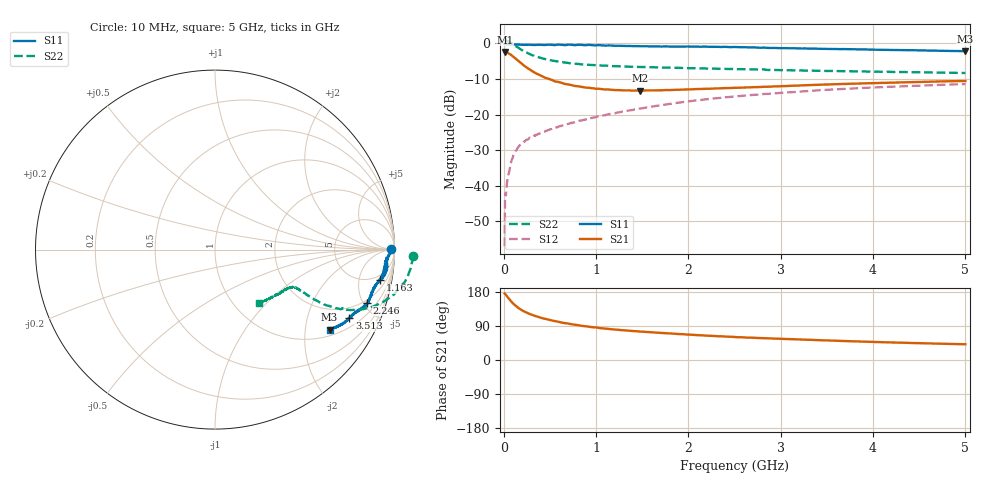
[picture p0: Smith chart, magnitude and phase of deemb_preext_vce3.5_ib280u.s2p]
! Forward-simulated: Re-embedded (raw/measured) — deemb_preext_vce3.5_ib280u.s2p
!  source_deembedded_file = deemb_preext_vce3.5_ib280u.s2p
!  Cpbe_fF = 22.0
!  Cpce_fF = 18.0
!  Cpbc_fF = 5.0
!  Lb_pH = 45.0
!  Lc_pH = 42.0
!  Le_pH = 6.0
!  Rpb_ohm = 0.0
!  Rpc_ohm = 0.0
!  Rpe_ohm = 0.0
# Hz S DB R 50
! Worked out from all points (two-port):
!   1001 points, 10 MHz to 5 GHz, reference 50 ohm
!   highest |S21| = -2.35 dB at 14.99 MHz (marker M1); lowest = -13.3 dB at 1.477 GHz (marker M2)
!   |S21| within 3 dB of the highest: start of sweep to 180.7 MHz
!   lowest |S11| = -2.2 dB at 5 GHz (marker M3), VSWR 8.06, Z = 59.4 - j135 ohm
!   |S11| at or under -10 dB: nowhere
!   |S22| runs from -8.3 to 0.9 dB; largest |S21 - S12| = 0.77
!   S11 on the Smith chart (normalised r, x): 10 MHz: open; 1.163 GHz: 4, -10; 2.246 GHz: 1.76, -5.36; 3.513 GHz: 1.43, -3.66; 5 GHz: 1.19, -2.70
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1e7  -0.15 0.2  -2.36 175.7  -57.08 5.6  0.84 -1.8
1.499e7  -0.19 -0.4  -2.35 174.5  -42.79 51.6  0.86 -2.9
3.994e7  -0.19 -0.7  -2.62 166.8  -38.57 67.9  0.70 -8.0
5.99e7  -0.20 -1.0  -2.87 160.5  -36.19 64.2  0.45 -11.6
7.986e7  -0.24 -1.5  -3.21 154.9  -33.45 63.7  0.16 -14.7
9.982e7  -0.28 -1.8  -3.60 149.8  -32.01 62.6  -0.18 -17.4
1.2976e8  -0.30 -2.2  -4.24 143.0  -30.32 57.9  -0.70 -20.4
1.597e8  -0.30 -2.3  -4.92 137.5  -29.11 56.1  -1.21 -22.6
2.096e8  -0.34 -2.8  -5.99 129.4  -27.87 52.9  -2.06 -24.9
2.6948e8  -0.33 -3.2  -7.12 122.8  -26.89 51.7  -2.81 -26.1
4.092e8  -0.38 -4.6  -9.13 110.8  -25.13 50.3  -4.13 -26.7
5.589e8  -0.43 -5.3  -10.67 102.3  -23.84 51.6  -4.96 -26.0
8.4333e8  -0.40 -8.3  -12.22 90.3  -21.65 53.4  -5.87 -25.3
1.16269e9  -0.58 -10.5  -13.02 81.3  -19.80 54.2  -6.36 -25.7
1.47706e9  -0.77 -12.7  -13.27 75.1  -18.32 54.5  -6.61 -27.0
1.67666e9  -0.83 -14.3  -13.19 71.8  -17.50 54.2  -6.74 -27.9
2.24552e9  -0.94 -19.2  -12.71 63.9  -15.58 51.8  -7.06 -31.8
2.505e9  -0.99 -21.0  -12.46 60.7  -14.90 50.1  -7.20 -33.4
3.33833e9  -1.45 -25.9  -11.69 53.0  -13.30 46.0  -7.66 -39.7
3.51298e9  -1.53 -26.9  -11.54 51.6  -13.03 45.0  -7.76 -40.8
4.17166e9  -1.82 -31.2  -11.06 46.6  -12.21 41.3  -7.98 -45.4
5e9  -2.17 -35.0  -10.55 41.5  -11.45 37.3  -8.30 -50.6
